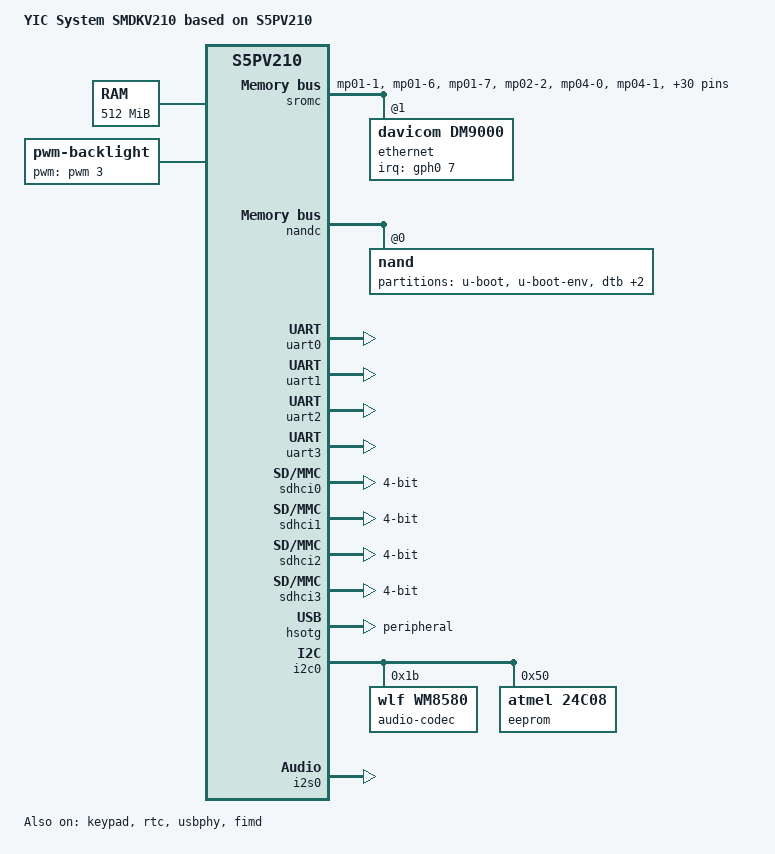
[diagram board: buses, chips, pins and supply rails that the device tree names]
// SPDX-License-Identifier: GPL-2.0
/*
 * Samsung's S5PV210 SoC device tree source
 *
 * Copyright (c) 2013-2014 Samsung Electronics, Co. Ltd.
 *
 * Mateusz Krawczuk <m.krawczuk@partner.samsung.com>
 * Tomasz Figa <t.figa@samsung.com>
 *
 * Board device tree source for YIC System SMDV210 board.
 *
 * NOTE: This file is completely based on original board file for mach-smdkv210
 * available in Linux 3.15 and intends to provide equivalent level of hardware
 * support. Due to lack of hardware, _no_ testing has been performed.
 */

/dts-v1/;
#include <dt-bindings/input/input.h>
#include "s5pv210.dtsi"

/ {
	model = "YIC System SMDKV210 based on S5PV210";
	compatible = "yic,smdkv210", "samsung,s5pv210";

	chosen {
		bootargs = "console=ttySAC0,115200n8 root=/dev/nfs nfsroot=192.168.88.8:/home/zhi/s5pv210/rootfs,v3 rw ip=192.168.88.123:192.168.88.8:192.168.88.1:255.255.255.0::eth0:off rw root wait ignore_loglevel earlyprintk"; //"console=ttySAC0,115200n8 root=/dev/mmcblk0p1 rw rootwait ignore_loglevel earlyprintk";
	};

	memory@30000000 {
		device_type = "memory";
		reg = <0x30000000 0x20000000>;
	};
/*
	ethernet@88000000 {
		compatible = "davicom,dm9000";
		reg = <0x88000000 0x2 0x88000004 0x2>;
		interrupt-parent = <&gph0>;
		interrupts = <7 4>;
		local-mac-address = [50 60 de ad be ef];
		davicom,no-eeprom;
		clocks = <&clocks CLK_SROMC>;
		clock-names = "sromc";
	};
*/
	backlight {
		compatible = "pwm-backlight";
		pwms = <&pwm 3 5000000 0>;
		brightness-levels = <0 4 8 16 32 64 128 255>;
		default-brightness-level = <6>;
		pinctrl-names = "default";
		pinctrl-0 = <&pwm3_out>;
	};
/*
    srom-cs2@e8000000 {
		compatible = "simple-bus";
		#address-cells = <1>;
		#size-cells = <1>;
		reg = <0xe8000000 0x80>;
		ranges;

		nand: nand@B0E00000 {
			compatible = "samsung,s5pv210-nand";
			reg = <0xb0e00000 0x2000>,
			interrupt-parent = <&vic1>;
			interrupts = <31>;
			clocks = <&clocks CLK_SROMC>;
			clock-names = "nand";
			#address-cells = <1>;
			#size-cells = <1>;           
			status = "okay"; // "disabled";
		};
	};
    */
};

&xusbxti {
	clock-frequency = <24000000>;
};

&xxti {
	clock-frequency = <24000000>;
};



&pinctrl0 {
	srom_ctl: srom-ctl {
		samsung,pins = "mp01-1",  "mp01-6",
			                  "mp01-7", "mp02-2";
		samsung,pin-function = <EXYNOS_PIN_FUNC_2>;
		samsung,pin-drv = <EXYNOS5420_PIN_DRV_LV1>;
	};

	srom_ebi: srom-ebi {
		samsung,pins = "mp04-0", "mp04-1", "mp04-2", "mp04-3",
			       "mp04-4", "mp04-5", "mp04-6", "mp04-7",
			       "mp05-0", "mp05-1", "mp05-2", "mp05-3",
			       "mp05-4", "mp05-5", "mp05-6", "mp05-7",
			       "mp06-0", "mp06-1", "mp06-2", "mp06-3",
			       "mp06-4", "mp06-5", "mp06-6", "mp06-7",
                                "mp07-0", "mp07-1", "mp07-2", "mp07-3",
			       "mp07-4", "mp07-5", "mp07-6", "mp07-7";
		samsung,pin-function = <EXYNOS_PIN_FUNC_2>;
		samsung,pin-pud = <EXYNOS_PIN_PULL_UP>;
		samsung,pin-drv = <EXYNOS5420_PIN_DRV_LV1>;
	};
    nandc_ctl: nandc-ctl {
		samsung,pins = "mp01-2", "mp03-0", "mp03-1",
			       "mp03-2", "mp03-3", "mp03-4";
		samsung,pin-function = <EXYNOS_PIN_FUNC_2>;
		samsung,pin-pud = <EXYNOS_PIN_PULL_UP>;
		samsung,pin-drv = <EXYNOS5420_PIN_DRV_LV1>;
	};
    nandc_ebi: nandc-ebi {
		samsung,pins = 
			       "mp06-0", "mp06-1", "mp06-2", "mp06-3",
			       "mp06-4", "mp06-5", "mp06-6", "mp06-7";
		samsung,pin-function = <EXYNOS_PIN_FUNC_2>;
		samsung,pin-pud = <EXYNOS_PIN_PULL_UP>;
		samsung,pin-drv = <EXYNOS5420_PIN_DRV_LV1>;
	};
};





&sromc {
	pinctrl-names = "default";
	pinctrl-0 = <&srom_ctl>, <&srom_ebi>;
    status = "okay";
	
    ethernet@1,0 {
		compatible = "davicom,dm9000";
        reg = <1 0 2   /* addr */
            1 4 2>; /* data */
		interrupt-parent = <&gph0>;
		interrupts = <7 4>;
		local-mac-address = [50 60 de ad be ef];
		davicom,no-eeprom;

	    reg-io-width = <2>;    //16位模式

		samsung,waitable;
		samsung,srom-timing = <0 0 1 3 1 0>;
	};
    
	
};



&nandc {
    status = "okay"; // "disabled";
  

    samsung,nandc-tacls=<1>;
    samsung,nandc-twrph0=<2>;
    samsung,nandc-twrph1=<1>;


    nand@0 {
        nand-ecc-step-size = <512>;   //每页2k，每512字节生成ecc，需要16自己存储
		nand-ecc-strength = <8>;    //最大8bit的纠错位数，每页需要64字节的oob存储
		nand-ecc-mode = "hw";
		nand-on-flash-bbt;
		nand-is-boot-medium;
        nand-bus-width = <8>;

        pinctrl-names = "default";
        pinctrl-0 = <&nandc_ctl>, <&nandc_ebi>;

        
        partitions {
        compatible = "fixed-partitions";
        #address-cells = <1>;
        #size-cells = <1>;

            partition@0 {
                label = "u-boot";
                reg = <0x0 0xc0000 >;
            };

            partition@c0000 {
                label = "u-boot-env";
                reg = <0xc0000  0x40000>;
            };

            partition@100000 {
                label = "dtb";
                reg = <0x100000 0x080000>;   
            };

            partition@180000 {
                label = "kernel";
                reg = <0x180000 0x500000>;
            };

            partition@680000 {
                label = "rootfs";
                reg = <0x680000 0x3f980000 >;   //最大1G
            };
        };
    };
};




&keypad {
	linux,input-no-autorepeat;
	wakeup-source;
	samsung,keypad-num-rows = <8>;
	samsung,keypad-num-columns = <8>;
	pinctrl-names = "default";
	pinctrl-0 = <&keypad_row0>, <&keypad_row1>, <&keypad_row2>,
			<&keypad_row3>, <&keypad_row4>, <&keypad_row5>,
			<&keypad_row6>, <&keypad_row7>,
			<&keypad_col0>, <&keypad_col1>, <&keypad_col2>,
			<&keypad_col3>, <&keypad_col4>, <&keypad_col5>,
			<&keypad_col6>, <&keypad_col7>;
	status = "okay";

	key_1 {
		keypad,row = <0>;
		keypad,column = <3>;
		linux,code = <KEY_1>;
	};

	key_2 {
		keypad,row = <0>;
		keypad,column = <4>;
		linux,code = <KEY_2>;
	};

	key_3 {
		keypad,row = <0>;
		keypad,column = <5>;
		linux,code = <KEY_3>;
	};

	key_4 {
		keypad,row = <0>;
		keypad,column = <6>;
		linux,code = <KEY_4>;
	};

	key_5 {
		keypad,row = <0
		>;
		keypad,column = <7>;
		linux,code = <KEY_5>;
	};

	key_6 {
		keypad,row = <1>;
		keypad,column = <3>;
		linux,code = <KEY_A>;
	};
	key_7 {
		keypad,row = <1>;
		keypad,column = <4>;
		linux,code = <KEY_B>;
	};

	key_8 {
		keypad,row = <1>;
		keypad,column = <5>;
		linux,code = <KEY_C>;
	};

	key_9 {
		keypad,row = <1>;
		keypad,column = <6>;
		linux,code = <KEY_D>;
	};

	key_10 {
		keypad,row = <1>;
		keypad,column = <7>;
		linux,code = <KEY_E>;
	};
};

&uart0 {
	status = "okay";
};

&uart1 {
	status = "okay";
};

&uart2 {
	status = "okay";
};

&uart3 {
	status = "okay";
};

&rtc {
	status = "okay";
};

&sdhci0 {
	bus-width = <4>;
	pinctrl-0 = <&sd0_clk &sd0_cmd &sd0_cd &sd0_bus1 &sd0_bus4>;
	pinctrl-names = "default";
	status = "okay";
};

&sdhci1 {
	bus-width = <4>;
	pinctrl-0 = <&sd1_clk &sd1_cmd &sd1_cd &sd1_bus1 &sd1_bus4>;
	pinctrl-names = "default";
	status = "okay";
};

&sdhci2 {
	bus-width = <4>;
	pinctrl-0 = <&sd2_clk &sd2_cmd &sd2_cd &sd2_bus1 &sd2_bus4>;
	pinctrl-names = "default";
	status = "okay";
};

&sdhci3 {
	bus-width = <4>;
	pinctrl-0 = <&sd3_clk &sd3_cmd &sd3_cd &sd3_bus1 &sd3_bus4>;
	pinctrl-names = "default";
	status = "okay";
};

&hsotg {
	dr_mode = "peripheral";
	status = "okay";
};

&usbphy {
	status = "okay";
};

&fimd {
	pinctrl-0 = <&lcd_clk &lcd_data24>;
	pinctrl-names = "default";
	status = "okay";

	display-timings {
		native-mode = <&timing0>;

		timing0: timing {
			/* 800x480@60Hz */
			clock-frequency = <24373920>;
			hactive = <800>;
			vactive = <480>;
			hfront-porch = <8>;
			hback-porch = <13>;
			hsync-len = <3>;
			vback-porch = <7>;
			vfront-porch = <5>;
			vsync-len = <1>;
			hsync-active = <0>;
			vsync-active = <0>;
			de-active = <1>;
			pixelclk-active = <1>;
		};
	};
};

&pwm {
	samsung,pwm-outputs = <3>;
};

&i2c0 {
	status = "okay";

	audio-codec@1b {
		compatible = "wlf,wm8580";
		reg = <0x1b>;
	};

	eeprom@50 {
		compatible = "atmel,24c08";
		reg = <0x50>;
	};
};

&i2s0 {
	status = "okay";
};





